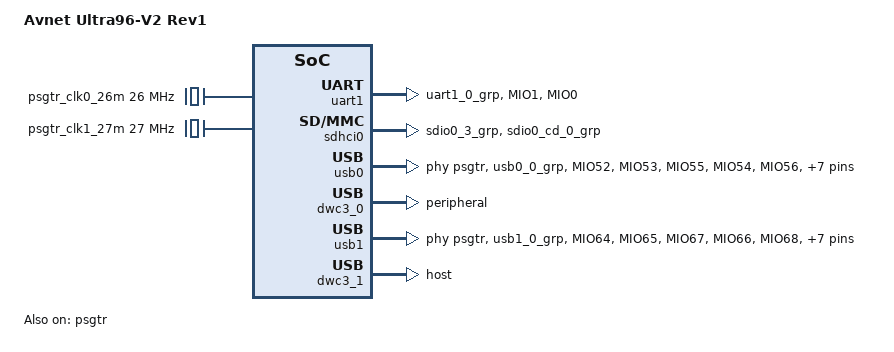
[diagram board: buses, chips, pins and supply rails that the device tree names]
// SPDX-License-Identifier: GPL-2.0+

// Some parts are based on arch/arm64/boot/dts/xilinx/zynqmp-zcu100-revC.dts in the
// Xilinx/linux-xlnx repository which is licensed under GPL-2.0+.
// /*
//  * dts file for Xilinx ZynqMP ZCU100 revC
//  *
//  * (C) Copyright 2016 - 2021, Xilinx, Inc.
//  *
//  * Michal Simek <michal.simek@xilinx.com>
//  * Nathalie Chan King Choy
//  */

#include <dt-bindings/pinctrl/pinctrl-zynqmp.h>
#include <dt-bindings/phy/phy.h>

/ {
  model = "Avnet Ultra96-V2 Rev1";

  chosen {
    bootargs = "earlycon clk_ignore_unused root=/dev/mmcblk0p2 rw rootwait uio_pdrv_genirq.of_id=generic-uio systemd.unit=multi-user.target";
  };

  ipi-ctrl@ff340000 {
    compatible = "generic-uio";
    reg = <0x0 0xff340000 0x0 0x1000>;  // IPI Ch 7
    interrupt-parent = <&gic>;
    interrupts = <0 29 4>;
  };

  ipi-buffer@ff990000 {
    compatible = "generic-uio";
    reg = <0x0 0xff990600 0x0 0x20>, // APU (Ch 7, buffer_index = 3)  -> RPU0 request
          <0x0 0xff990620 0x0 0x20>, // RPU0 (Ch 2, buffer_index = 0) -> APU response
          <0x0 0xff9900c0 0x0 0x20>, // RPU0 (Ch 2, buffer_index = 0) -> APU request
          <0x0 0xff9900e0 0x0 0x20>; // APU (Ch 7, buffer_index = 3)  -> RPU0 response
  };

  // PS-GTR reference clocks (5P49V6975 in V2, SI5335A in V1)
  psgtr_clk0_26m: psgtr-clk0-26m {
    compatible = "fixed-clock";
    #clock-cells = <0>;
    clock-frequency = <26000000>;  // 26 MHz clock for USB
  };
  psgtr_clk1_27m: psgtr-clk1-27m {
    compatible = "fixed-clock";
    #clock-cells = <0>;
    clock-frequency = <27000000>;  // 27 MHz clock for DP
  };
};

&pinctrl0 {
  status = "okay";

  pinctrl_sdhci0_default: sdhci0-default {
    mux {
      groups = "sdio0_3_grp";
      function = "sdio0";
    };

    conf {
      groups = "sdio0_3_grp";
      slew-rate = <SLEW_RATE_SLOW>;
      power-source = <IO_STANDARD_LVCMOS18>;
      bias-disable;
    };

    mux-cd {
      groups = "sdio0_cd_0_grp";
      function = "sdio0_cd";
    };

    conf-cd {
      groups = "sdio0_cd_0_grp";
      bias-high-impedance;
      bias-pull-up;
      slew-rate = <SLEW_RATE_SLOW>;
      power-source = <IO_STANDARD_LVCMOS18>;
    };
  };

  pinctrl_uart1_default: uart1-default {
    mux {
      groups = "uart1_0_grp";
      function = "uart1";
    };

    conf {
      groups = "uart1_0_grp";
      slew-rate = <SLEW_RATE_SLOW>;
      power-source = <IO_STANDARD_LVCMOS18>;
    };

    conf-rx {
      pins = "MIO1";
      bias-high-impedance;
    };

    conf-tx {
      pins = "MIO0";
      bias-disable;
    };
  };

  pinctrl_usb0_default: usb0-default {
    mux {
      groups = "usb0_0_grp";
      function = "usb0";
    };

    conf {
      groups = "usb0_0_grp";
      power-source = <IO_STANDARD_LVCMOS18>;
    };

    conf-rx {
      pins = "MIO52", "MIO53", "MIO55";
      bias-high-impedance;
      drive-strength = <12>;
      slew-rate = <SLEW_RATE_FAST>;
    };

    conf-tx {
      pins = "MIO54", "MIO56", "MIO57", "MIO58", "MIO59",
             "MIO60", "MIO61", "MIO62", "MIO63";
      bias-disable;
      drive-strength = <4>;
      slew-rate = <SLEW_RATE_SLOW>;
    };
  };

  pinctrl_usb1_default: usb1-default {
    mux {
      groups = "usb1_0_grp";
      function = "usb1";
    };

    conf {
      groups = "usb1_0_grp";
      power-source = <IO_STANDARD_LVCMOS18>;
    };

    conf-rx {
      pins = "MIO64", "MIO65", "MIO67";
      bias-high-impedance;
      drive-strength = <12>;
      slew-rate = <SLEW_RATE_FAST>;
    };

    conf-tx {
      pins = "MIO66", "MIO68", "MIO69", "MIO70", "MIO71",
             "MIO72", "MIO73", "MIO74", "MIO75";
      bias-disable;
      drive-strength = <4>;
      slew-rate = <SLEW_RATE_SLOW>;
    };
  };
};

&gpio {
  gpio-reserved-ranges = <17 4>;
};

&lpd_watchdog {
  status = "reserved";
};

&uart1 {
  pinctrl-names = "default";
  pinctrl-0 = <&pinctrl_uart1_default>;
};

&sdhci0 {
  status = "okay";
  no-1-8-v;
  disable-wp;
  pinctrl-names = "default";
  pinctrl-0 = <&pinctrl_sdhci0_default>;
};

&sdhci1 {
  status = "disabled";
};

&psgtr {
  status = "okay";
  clocks = <&psgtr_clk0_26m &psgtr_clk1_27m>;
  clock-names = "ref0", "ref1";
};

&usb0 {
  status = "okay";
  pinctrl-names = "default";
  pinctrl-0 = <&pinctrl_usb0_default>;
  phy-names = "usb3-phy";
  phys = <&psgtr 2 PHY_TYPE_USB3 0 0>;
};

&dwc3_0 {
  status = "okay";
  dr_mode = "peripheral";
  maximum-speed = "super-speed";
};

&usb1 {
  status = "okay";
  pinctrl-names = "default";
  pinctrl-0 = <&pinctrl_usb1_default>;
  phy-names = "usb3-phy";
  phys = <&psgtr 3 PHY_TYPE_USB3 1 0>;
};

&dwc3_1 {
  status = "okay";
  dr_mode = "host";
  maximum-speed = "super-speed";
};
